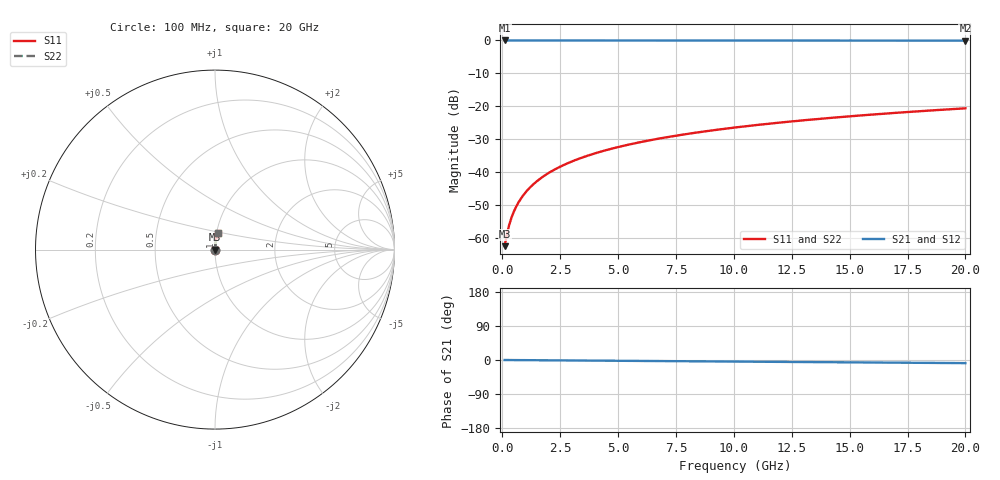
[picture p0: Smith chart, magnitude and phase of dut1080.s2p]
! Touchstone file exported from HFSS 2026.1.0
!  File:  C:/ffzhzh/LocalFiles/Ansys_Project_Files/temp_train_TSV_1080_1783190117_43440.aedt
!  Generated:  02:36:56 AM Jul  5, 2026
!  Design:  TSV
!  Project:  temp_train_TSV_1080_1783190117_43440
! Variables:
!  h_bsmrdl = 2um
!  h_ox = 20um
!  h_rdl = 5um
!  h_sub = 55.7um
!  h_tmrdl = 5um
!  h_tsv = 55.7um
!  h_via = 3um
!  l_bsmrdl = 300um
!  l_sub = 406.96um
!  l_tmrdl = 200um
!  m_sub = 200um
!  pitch = 48.18um
!  r_tsv = 3.48um
!  s_tmrdl = 10um
!  w_bsmrdl = 18um
!  w_sub = 500um
!  w_tmrdl = 12um
!  x_tsv_center1 = 206um
!  x_tsv_center2 = 524um
!  x_tsv_center3 = 736um
!  x_tsv_center4 = 1054um
!  x_tsv_center5 = 1266um
!  x_tsv_center6 = 1584um
# GHz S MA R 50.000000
! Terminal data exported
! Port[1] = TSV1_1_T1
! Port[2] = TSV1_1_T2
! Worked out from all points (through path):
!   200 points, 100 MHz to 20 GHz, reference 50 ohm
!   highest |S21| = 0.00 dB at 100 MHz (marker M1); lowest = -0.1 dB at 20 GHz (marker M2)
!   group delay of S21, straight-line fit = 1.14 ps
!   lowest |S11| = -62.5 dB at 100 MHz (marker M3), VSWR 1.00, Z = 50.1 + j0.0495 ohm
!   |S11| at or under -10 dB: start of sweep to end of sweep
!   |S22| runs from -62.5 to -20.6 dB; largest |S21 - S12| = 2.2e-15
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0.1  0.0007471 41.4  0.9994 -0.0  0.9994 -0.0  0.0007471 41.4
! Gamma 0 0 0 0
! Port Impedance 50 0 50 0
0.2  0.001137 60.0  0.9994 -0.1  0.9994 -0.1  0.001137 60.0
0.3  0.001581 68.5  0.9994 -0.1  0.9994 -0.1  0.001581 68.5
0.4  0.002041 73.2  0.9994 -0.2  0.9994 -0.2  0.002041 73.2
0.5  0.002508 76.1  0.9994 -0.2  0.9994 -0.2  0.002508 76.1
0.6  0.002979 78.2  0.9994 -0.3  0.9994 -0.3  0.002979 78.2
0.8  0.003928 80.8  0.9994 -0.3  0.9994 -0.3  0.003928 80.8
1.1  0.005361 82.9  0.9994 -0.5  0.9994 -0.5  0.005361 82.9
1.5  0.007277 84.3  0.9993 -0.6  0.9993 -0.6  0.007277 84.3
1.8  0.008716 84.9  0.9993 -0.8  0.9993 -0.8  0.008716 84.9
2.1  0.01015 85.3  0.9993 -0.9  0.9993 -0.9  0.01015 85.3
2.7  0.01303 85.6  0.9992 -1.1  0.9992 -1.1  0.01303 85.6
3.5  0.01684 85.8  0.999 -1.5  0.999 -1.5  0.01684 85.8
4.2  0.02017 85.7  0.9989 -1.8  0.9989 -1.8  0.02017 85.7
5  0.02395 85.6  0.9987 -2.1  0.9987 -2.1  0.02395 85.6
5.9  0.02818 85.3  0.9985 -2.5  0.9985 -2.5  0.02818 85.3
6.8  0.0324 85.1  0.9983 -2.8  0.9983 -2.8  0.0324 85.1
8.3  0.03939 84.6  0.9979 -3.5  0.9979 -3.5  0.03939 84.6
10.1  0.04773 84.0  0.9974 -4.2  0.9974 -4.2  0.04773 84.0
13.4  0.06293 82.9  0.9963 -5.6  0.9963 -5.6  0.06293 82.9
16.7  0.07803 81.7  0.995 -6.9  0.995 -6.9  0.07803 81.7
20  0.09303 80.4  0.9936 -8.3  0.9936 -8.3  0.09303 80.4
